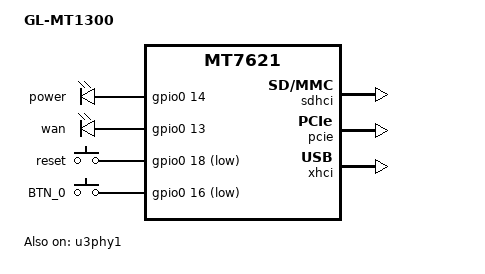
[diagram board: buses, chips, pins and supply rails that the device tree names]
/dts-v1/;

#include "mt7621.dtsi"
#include <dt-bindings/input/input.h>
#include "mt7621-spi-32m-layout.dtsi"
#include "mt7621-raeth-gmac2.dtsi"
#include "mt7621-pinctrl-default-gpio.dtsi"

/ {
	compatible = "mediatek,mt7621-soc";
	model = "GL-MT1300";

	aliases {
	};
	
	chosen {
		bootargs = "console=ttyS0,57600";
	};

	
	leds {
		compatible = "gpio-leds";

		led_run: blue {
			label = "power";
			gpios = <&gpio0 14 GPIO_ACTIVE_HIGH>;
		};

		white {
			label = "wan";
			gpios = <&gpio0 13 GPIO_ACTIVE_HIGH>;
		};

	};
        
        gpio-keys-polled {
		compatible = "gpio-keys-polled";
		#address-cells = <1>;
		#size-cells = <0>;
		poll-interval = <20>;
		
		reset {
			label = "reset";
			gpios = <&gpio0 18 GPIO_ACTIVE_LOW>;
			linux,code = <KEY_RESTART>;
		};

		BTN_0 {
			label = "BTN_0";
			gpios = <&gpio0 16 GPIO_ACTIVE_LOW>;
			linux,code = <BTN_0>;
		};
	};
};

&sdhci {
	status = "okay";
};

&pcie {
	status = "okay";
};

&xhci {
	status = "okay";
};

&u3phy1 {
	status = "okay";
};
